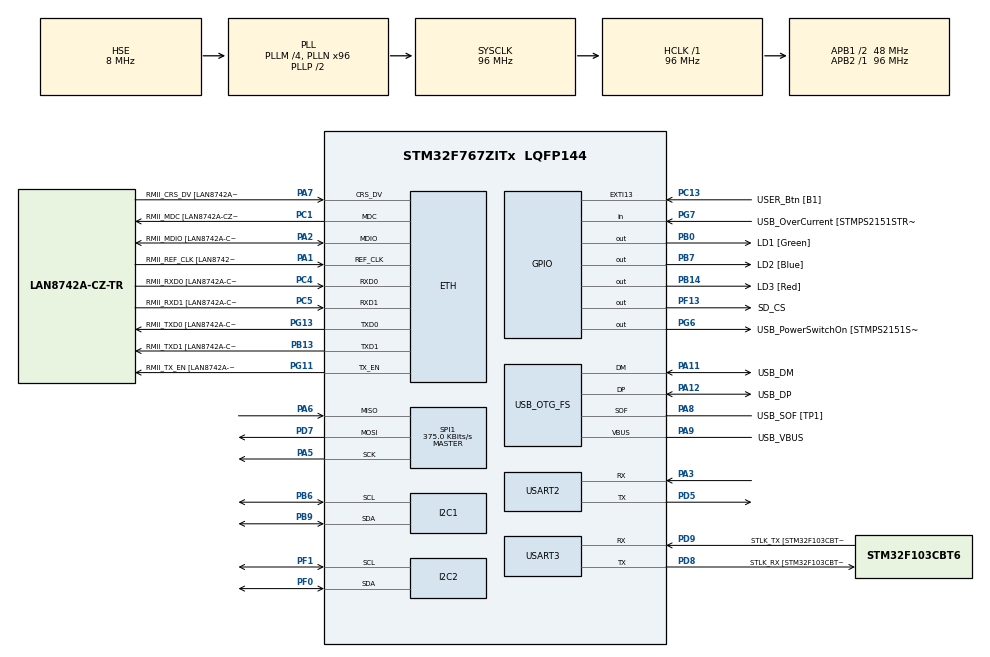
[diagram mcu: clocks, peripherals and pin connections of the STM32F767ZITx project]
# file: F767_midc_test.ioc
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CORTEX_M7.default_mode_Activation=1
ETH.MediaInterface=HAL_ETH_RMII_MODE
ETH.PHY_Name=LAN8742A_PHY_ADDRESS
ETH.PHY_Value=0
ETH.PhyAddress=0
I2C1.Timing=0x20303E5D
I2C2.Timing=0x20303E5D
Mcu.Family=STM32F7
Mcu.Name=STM32F767ZITx
Mcu.Package=LQFP144
NVIC.PriorityGroup=NVIC_PRIORITYGROUP_4
PA1.GPIO_Label=RMII_REF_CLK [LAN8742A-CZ-TR_REFCLK0]
PA1.Mode=RMII
PA1.Signal=ETH_REF_CLK
PA10.GPIO_Label=USB_ID
PA10.Signal=USB_OTG_FS_ID
PA11.GPIO_Label=USB_DM
PA11.Mode=Device_Only
PA11.Signal=USB_OTG_FS_DM
PA12.GPIO_Label=USB_DP
PA12.Mode=Device_Only
PA12.Signal=USB_OTG_FS_DP
PA13.GPIO_Label=TMS
PA13.Mode=Serial_Wire
PA13.Signal=SYS_JTMS-SWDIO
PA14.GPIO_Label=TCK
PA14.Mode=Serial_Wire
PA14.Signal=SYS_JTCK-SWCLK
PA2.GPIO_Label=RMII_MDIO [LAN8742A-CZ-TR_MDIO]
PA2.Mode=RMII
PA2.Signal=ETH_MDIO
PA3.Mode=Asynchronous
PA3.Signal=USART2_RX
PA5.Mode=Full_Duplex_Master
PA5.Signal=SPI1_SCK
PA6.Mode=Full_Duplex_Master
PA6.Signal=SPI1_MISO
PA7.GPIO_Label=RMII_CRS_DV [LAN8742A-CZ-TR_CRS_DV]
PA7.Mode=RMII
PA7.Signal=ETH_CRS_DV
PA8.GPIO_Label=USB_SOF [TP1]
PA8.Mode=Activate_SOF_FS
PA8.Signal=USB_OTG_FS_SOF
PA9.GPIO_Label=USB_VBUS
PA9.Mode=Activate_VBUS
PA9.Signal=USB_OTG_FS_VBUS
PB0.GPIO_Label=LD1 [Green]
PB0.Signal=GPIO_Output
PB13.GPIO_Label=RMII_TXD1 [LAN8742A-CZ-TR_TXD1]
PB13.Mode=RMII
PB13.Signal=ETH_TXD1
PB14.GPIO_Label=LD3 [Red]
PB14.Signal=GPIO_Output
PB3.GPIO_Label=SWO
PB3.Signal=SYS_JTDO-SWO
PB6.Mode=I2C
PB6.Signal=I2C1_SCL
PB7.GPIO_Label=LD2 [Blue]
PB7.Signal=GPIO_Output
PB9.Mode=I2C
PB9.Signal=I2C1_SDA
PC1.GPIO_Label=RMII_MDC [LAN8742A-CZ-TR_MDC]
PC1.Mode=RMII
PC1.Signal=ETH_MDC
PC13.GPIO_Label=USER_Btn [B1]
PC13.Signal=GPXTI13
PC14/OSC32_IN.Mode=LSE-External-Oscillator
PC14/OSC32_IN.Signal=RCC_OSC32_IN
PC15/OSC32_OUT.Mode=LSE-External-Oscillator
PC15/OSC32_OUT.Signal=RCC_OSC32_OUT
PC4.GPIO_Label=RMII_RXD0 [LAN8742A-CZ-TR_RXD0]
PC4.Mode=RMII
PC4.Signal=ETH_RXD0
PC5.GPIO_Label=RMII_RXD1 [LAN8742A-CZ-TR_RXD1]
PC5.Mode=RMII
PC5.Signal=ETH_RXD1
PD5.Mode=Asynchronous
PD5.Signal=USART2_TX
PD7.Mode=Full_Duplex_Master
PD7.Signal=SPI1_MOSI
PD8.GPIO_Label=STLK_RX [STM32F103CBT6_PA3]
PD8.Mode=Asynchronous
PD8.Signal=USART3_TX
PD9.GPIO_Label=STLK_TX [STM32F103CBT6_PA2]
PD9.Mode=Asynchronous
PD9.Signal=USART3_RX
PF0.Mode=I2C
PF0.Signal=I2C2_SDA
PF1.Mode=I2C
PF1.Signal=I2C2_SCL
PF13.GPIO_Label=SD_CS
PF13.Signal=GPIO_Output
PG11.GPIO_Label=RMII_TX_EN [LAN8742A-CZ-TR_TXEN]
PG11.Mode=RMII
PG11.Signal=ETH_TX_EN
PG13.GPIO_Label=RMII_TXD0 [LAN8742A-CZ-TR_TXD0]
PG13.Mode=RMII
PG13.Signal=ETH_TXD0
PG6.GPIO_Label=USB_PowerSwitchOn [STMPS2151STR_EN]
PG6.Signal=GPIO_Output
PG7.GPIO_Label=USB_OverCurrent [STMPS2151STR_FAULT]
PG7.Signal=GPIO_Input
PH0/OSC_IN.GPIO_Label=MCO [STM32F103CBT6_PA8]
PH0/OSC_IN.Mode=HSE-External-Clock-Source
PH0/OSC_IN.Signal=RCC_OSC_IN
PH1/OSC_OUT.Mode=HSE-External-Clock-Source
PH1/OSC_OUT.Signal=RCC_OSC_OUT
ProjectManager.HeapSize=0x200
ProjectManager.StackSize=0x400
ProjectManager.TargetToolchain=STM32CubeIDE
RCC.48MHZClocksFreq_Value=24000000
RCC.AHBFreq_Value=96000000
RCC.APB1CLKDivider=RCC_HCLK_DIV2
RCC.APB1Freq_Value=48000000
RCC.APB1TimFreq_Value=96000000
RCC.APB2Freq_Value=96000000
RCC.APB2TimFreq_Value=96000000
RCC.CortexFreq_Value=96000000
RCC.HCLKFreq_Value=96000000
RCC.HSE_VALUE=8000000
RCC.HSI_VALUE=16000000
RCC.PLLM=4
RCC.PLLMUL=RCC_PLL_MUL9
RCC.PLLN=96
RCC.PLLQ=4
RCC.PRESCALERUSB=RCC_USBCLKSOURCE_PLL_DIV1_5
RCC.SYSCLKFreq_VALUE=96000000
RCC.SYSCLKSource=RCC_SYSCLKSOURCE_PLLCLK
RCC.SYSCLKSourceVirtual=RCC_SYSCLKSOURCE_PLLCLK
RCC.USBFreq_Value=48000000
RCC.VCOOutputFreq_Value=192000000
SPI1.BaudRatePrescaler=SPI_BAUDRATEPRESCALER_256
SPI1.CalculateBaudRate=375.0 KBits/s
SPI1.DataSize=SPI_DATASIZE_8BIT
SPI1.Direction=SPI_DIRECTION_2LINES
SPI1.Mode=SPI_MODE_MASTER
SPI1.VirtualType=VM_MASTER
USART2.VirtualMode-Asynchronous=VM_ASYNC
USART3.VirtualMode-Asynchronous=VM_ASYNC
USB_OTG_FS.VirtualMode=Device_Only
VP_FATFS_VS_Generic.Mode=User_defined
board=NUCLEO-F767ZI

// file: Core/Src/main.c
/* USER CODE BEGIN Header */
/* F7676_midc_test */
/**
  ******************************************************************************
  * @file           : main.c
  * @brief          : Main program body
  ******************************************************************************
  * @attention
  *
  * Copyright (c) 2026 STMicroelectronics.
  * All rights reserved.
  *
  * This software is licensed under terms that can be found in the LICENSE file
  * in the root directory of this software component.
  * If no LICENSE file comes with this software, it is provided AS-IS.
  *
  ******************************************************************************
  */
/* USER CODE END Header */
#include "main.h"
#include "string.h"
#include "fatfs.h"

/* USER CODE BEGIN Includes */
#include <stdio.h>
#include <string.h>
#include <stdint.h>
#include <stdlib.h>
#include "fatfs.h"
/* USER CODE END Includes */

#if defined ( __ICCARM__ ) /*!< IAR Compiler */
#pragma location=0x2007c000
ETH_DMADescTypeDef  DMARxDscrTab[ETH_RX_DESC_CNT]; /* Ethernet Rx DMA Descriptors */
#pragma location=0x2007c0a0
ETH_DMADescTypeDef  DMATxDscrTab[ETH_TX_DESC_CNT]; /* Ethernet Tx DMA Descriptors */

#elif defined ( __CC_ARM )  /* MDK ARM Compiler */

__attribute__((at(0x2007c000))) ETH_DMADescTypeDef  DMARxDscrTab[ETH_RX_DESC_CNT]; /* Ethernet Rx DMA Descriptors */
__attribute__((at(0x2007c0a0))) ETH_DMADescTypeDef  DMATxDscrTab[ETH_TX_DESC_CNT]; /* Ethernet Tx DMA Descriptors */

#elif defined ( __GNUC__ ) /* GNU Compiler */

ETH_DMADescTypeDef DMARxDscrTab[ETH_RX_DESC_CNT] __attribute__((section(".RxDecripSection"))); /* Ethernet Rx DMA Descriptors */
ETH_DMADescTypeDef DMATxDscrTab[ETH_TX_DESC_CNT] __attribute__((section(".TxDecripSection")));   /* Ethernet Tx DMA Descriptors */
#endif

ETH_TxPacketConfig TxConfig;

ETH_HandleTypeDef heth;

I2C_HandleTypeDef hi2c1;
I2C_HandleTypeDef hi2c2;

SPI_HandleTypeDef hspi1;

UART_HandleTypeDef huart2;
UART_HandleTypeDef huart3;

PCD_HandleTypeDef hpcd_USB_OTG_FS;

/* USER CODE BEGIN PV */
#define RAW_INTERVAL_SEC      600   // 10 minutes
#define AVG_INTERVAL_SEC      3600  // 1 hour

#define DS3231_ADDR           (0x68 << 1)

#define MPU6050_ADDR          (0x68 << 1)
#define MPU6050_PWR_MGMT_1    0x6B
#define MPU6050_ACCEL_XOUT_H  0x3B

#define SBE_RX_BUFFER_SIZE    256

typedef struct
{
  uint8_t sec;
  uint8_t min;
  uint8_t hour;
  uint8_t day;
  uint8_t date;   // which day in a week
  uint8_t month;
  uint8_t year;
} DS3231_Time_t;

typedef struct
{
  float ax_g;
  float ay_g;
  float az_g;

  float gx_dps;
  float gy_dps;
  float gz_dps;

  float temp_c;
} MPU6050_Data_t;

typedef struct
{
  float ax;
  float ay;
  float az;

  float gx;
  float gy;
  float gz;

  float temp_bmp;
  float temp_sbe;
  float pressure_sbe;
} SensorData_t;

typedef struct
{
  uint32_t count;

  double ax_sum;
  double ay_sum;
  double az_sum;

  double gx_sum;
  double gy_sum;
  double gz_sum;

  double temp_bmp_sum;
  double temp_sbe_sum;
  double pressure_sbe_sum;
} AvgBuffer_t;

FATFS fs;
FIL file;
FRESULT fres;

DS3231_Time_t rtc_time;
MPU6050_Data_t mpu;
SensorData_t sensor_data;
AvgBuffer_t avg_buf;

uint32_t last_raw_sec = 0;
uint32_t last_avg_sec = 0;

uint32_t raw_index = 0;
uint32_t avg_index = 0;

char uart_msg[512];
char raw_line[256];
char avg_line[256];
char sbe_raw[SBE_RX_BUFFER_SIZE];
/* USER CODE END PV */

void SystemClock_Config(void);
static void MPU_Config(void);
static void MX_GPIO_Init(void);
static void MX_ETH_Init(void);
static void MX_I2C1_Init(void);
static void MX_I2C2_Init(void);
static void MX_SPI1_Init(void);
static void MX_USART2_UART_Init(void);
static void MX_USART3_UART_Init(void);
static void MX_USB_OTG_FS_PCD_Init(void);
/* USER CODE BEGIN PFP */
void UART3_Print(const char *msg);

uint8_t BCD_To_Dec(uint8_t bcd);
HAL_StatusTypeDef DS3231_ReadTime(DS3231_Time_t *time);
uint32_t DS3231_ToSecond(DS3231_Time_t *t);

HAL_StatusTypeDef MPU6050_Init(void);
HAL_StatusTypeDef MPU6050_Read(MPU6050_Data_t *data);

void SBE39_WakeUP(void);
HAL_StatusTypeDef SBE39_SendCommand(const char *cmd , char *buffer , uint16_t buffer_size , uint32_t timeout_ms);
uint8_t SBE39_ParseTS(char *raw , float *temp , float *pressure);

HAL_StatusTypeDef Read_All_Sensors(SensorData_t *d);

void Avg_Reset(void);
void Avg_AddSample(SensorData_t *d);

void SD_AppendLine_WithHeader(const char *filename , const char *header , const char *line);
void SD_WriteRaw(SensorData_t *d, DS3231_Time_t *t);
void SD_WriteAvg_And_SendUART(DS3231_Time_t *t);
/* USER CODE END PFP */

int main(void)
{

  /* MPU Configuration--------------------------------------------------------*/
  MPU_Config();

  /* MCU Configuration--------------------------------------------------------*/

  /* Reset of all peripherals, Initializes the Flash interface and the Systick. */
  HAL_Init();

  /* Configure the system clock */
  SystemClock_Config();

  /* Initialize all configured peripherals */
  MX_GPIO_Init();
  MX_ETH_Init();
  MX_I2C1_Init();
  MX_I2C2_Init();
  MX_SPI1_Init();
  MX_USART2_UART_Init();
  MX_USART3_UART_Init();
  MX_USB_OTG_FS_PCD_Init();
  MX_FATFS_Init();
  /* USER CODE BEGIN 2 */
  UART3_Print("System start\r\n");

  if (MPU6050_Init() == HAL_OK)
  {
    UART3_Print("MPU6050 init OK\r\n");
  } // end if mpu init ok
  else
  {
    UART3_Print("MPU6050 init ERROR\r\n");
  } // end else

  if (DS3231_ReadTime(&rtc_time) == HAL_OK)
  {
    uint32_t now_sec = DS3231_ToSecond(&rtc_time);

    last_raw_sec = now_sec - (now_sec % RAW_INTERVAL_SEC);    // Align raw logging to the nearest previous sampling boundary
    last_avg_sec = now_sec - (now_sec % AVG_INTERVAL_SEC);    // Align avgerging to the nearest averaging boundary

    UART3_Print("DS3231 init OK\r\n");
  } // end if DS3231 readtime ok
  else
  {
    UART3_Print("DS3231 init ERROR\r\n");
  } // end else

  Avg_Reset();
  /* USER CODE END 2 */

  /* Infinite loop */
  /* USER CODE BEGIN WHILE */
  while (1)
  {
    if (DS3231_ReadTime(&rtc_time) == HAL_OK)
    {
      uint32_t now_sec = DS3231_ToSecond(&rtc_time);

      if (now_sec - last_raw_sec >= RAW_INTERVAL_SEC)
      {
        last_raw_sec += RAW_INTERVAL_SEC;

        if (Read_All_Sensors(&sensor_data) == HAL_OK)
        {
          SD_WriteRaw(&sensor_data , &rtc_time);
          Avg_AddSample(&sensor_data);

          UART3_Print("RAW WRITE OK\r\n");
        } // end if read all sensor ok
        else
        {
          UART3_Print("SENSOR READ ERROR\r\n");
        } // end else
      } // end if reach raw interval sec

      if (now_sec - last_avg_sec >= AVG_INTERVAL_SEC)
      {
        last_avg_sec += AVG_INTERVAL_SEC;

        SD_WriteAvg_And_SendUART(&rtc_time);
        Avg_Reset();
      } // end if reach abg interval sec
    } // end DS3231_ReadTime ok

    HAL_Delay(100);
    /* USER CODE END WHILE */

  }
}

void SystemClock_Config(void)
{
  RCC_OscInitTypeDef RCC_OscInitStruct = {0};
  RCC_ClkInitTypeDef RCC_ClkInitStruct = {0};

  /** Configure LSE Drive Capability
  */
  HAL_PWR_EnableBkUpAccess();

  /** Configure the main internal regulator output voltage
  */
  __HAL_RCC_PWR_CLK_ENABLE();
  __HAL_PWR_VOLTAGESCALING_CONFIG(PWR_REGULATOR_VOLTAGE_SCALE3);

  /** Initializes the RCC Oscillators according to the specified parameters
  * in the RCC_OscInitTypeDef structure.
  */
  RCC_OscInitStruct.OscillatorType = RCC_OSCILLATORTYPE_HSE;
  RCC_OscInitStruct.HSEState = RCC_HSE_BYPASS;
  RCC_OscInitStruct.PLL.PLLState = RCC_PLL_ON;
  RCC_OscInitStruct.PLL.PLLSource = RCC_PLLSOURCE_HSE;
  RCC_OscInitStruct.PLL.PLLM = 4;
  RCC_OscInitStruct.PLL.PLLN = 96;
  RCC_OscInitStruct.PLL.PLLP = RCC_PLLP_DIV2;
  RCC_OscInitStruct.PLL.PLLQ = 4;
  RCC_OscInitStruct.PLL.PLLR = 2;
  if (HAL_RCC_OscConfig(&RCC_OscInitStruct) != HAL_OK)
  {
    Error_Handler();
  }

  /** Activate the Over-Drive mode
  */
  if (HAL_PWREx_EnableOverDrive() != HAL_OK)
  {
    Error_Handler();
  }

  /** Initializes the CPU, AHB and APB buses clocks
  */
  RCC_ClkInitStruct.ClockType = RCC_CLOCKTYPE_HCLK|RCC_CLOCKTYPE_SYSCLK
                              |RCC_CLOCKTYPE_PCLK1|RCC_CLOCKTYPE_PCLK2;
  RCC_ClkInitStruct.SYSCLKSource = RCC_SYSCLKSOURCE_PLLCLK;
  RCC_ClkInitStruct.AHBCLKDivider = RCC_SYSCLK_DIV1;
  RCC_ClkInitStruct.APB1CLKDivider = RCC_HCLK_DIV2;
  RCC_ClkInitStruct.APB2CLKDivider = RCC_HCLK_DIV1;

  if (HAL_RCC_ClockConfig(&RCC_ClkInitStruct, FLASH_LATENCY_3) != HAL_OK)
  {
    Error_Handler();
  }
}

static void MX_ETH_Init(void)
{

   static uint8_t MACAddr[6];

  heth.Instance = ETH;
  MACAddr[0] = 0x00;
  MACAddr[1] = 0x80;
  MACAddr[2] = 0xE1;
  MACAddr[3] = 0x00;
  MACAddr[4] = 0x00;
  MACAddr[5] = 0x00;
  heth.Init.MACAddr = &MACAddr[0];
  heth.Init.MediaInterface = HAL_ETH_RMII_MODE;
  heth.Init.TxDesc = DMATxDscrTab;
  heth.Init.RxDesc = DMARxDscrTab;
  heth.Init.RxBuffLen = 1524;

  if (HAL_ETH_Init(&heth) != HAL_OK)
  {
    Error_Handler();
  }

  memset(&TxConfig, 0 , sizeof(ETH_TxPacketConfig));
  TxConfig.Attributes = ETH_TX_PACKETS_FEATURES_CSUM | ETH_TX_PACKETS_FEATURES_CRCPAD;
  TxConfig.ChecksumCtrl = ETH_CHECKSUM_IPHDR_PAYLOAD_INSERT_PHDR_CALC;
  TxConfig.CRCPadCtrl = ETH_CRC_PAD_INSERT;

}

static void MX_I2C1_Init(void)
{

  hi2c1.Instance = I2C1;
  hi2c1.Init.Timing = 0x20303E5D;
  hi2c1.Init.OwnAddress1 = 0;
  hi2c1.Init.AddressingMode = I2C_ADDRESSINGMODE_7BIT;
  hi2c1.Init.DualAddressMode = I2C_DUALADDRESS_DISABLE;
  hi2c1.Init.OwnAddress2 = 0;
  hi2c1.Init.OwnAddress2Masks = I2C_OA2_NOMASK;
  hi2c1.Init.GeneralCallMode = I2C_GENERALCALL_DISABLE;
  hi2c1.Init.NoStretchMode = I2C_NOSTRETCH_DISABLE;
  if (HAL_I2C_Init(&hi2c1) != HAL_OK)
  {
    Error_Handler();
  }

  /** Configure Analogue filter
  */
  if (HAL_I2CEx_ConfigAnalogFilter(&hi2c1, I2C_ANALOGFILTER_ENABLE) != HAL_OK)
  {
    Error_Handler();
  }

  /** Configure Digital filter
  */
  if (HAL_I2CEx_ConfigDigitalFilter(&hi2c1, 0) != HAL_OK)
  {
    Error_Handler();
  }

}

static void MX_I2C2_Init(void)
{

  hi2c2.Instance = I2C2;
  hi2c2.Init.Timing = 0x20303E5D;
  hi2c2.Init.OwnAddress1 = 0;
  hi2c2.Init.AddressingMode = I2C_ADDRESSINGMODE_7BIT;
  hi2c2.Init.DualAddressMode = I2C_DUALADDRESS_DISABLE;
  hi2c2.Init.OwnAddress2 = 0;
  hi2c2.Init.OwnAddress2Masks = I2C_OA2_NOMASK;
  hi2c2.Init.GeneralCallMode = I2C_GENERALCALL_DISABLE;
  hi2c2.Init.NoStretchMode = I2C_NOSTRETCH_DISABLE;
  if (HAL_I2C_Init(&hi2c2) != HAL_OK)
  {
    Error_Handler();
  }

  /** Configure Analogue filter
  */
  if (HAL_I2CEx_ConfigAnalogFilter(&hi2c2, I2C_ANALOGFILTER_ENABLE) != HAL_OK)
  {
    Error_Handler();
  }

  /** Configure Digital filter
  */
  if (HAL_I2CEx_ConfigDigitalFilter(&hi2c2, 0) != HAL_OK)
  {
    Error_Handler();
  }

}

static void MX_SPI1_Init(void)
{

  /* SPI1 parameter configuration*/
  hspi1.Instance = SPI1;
  hspi1.Init.Mode = SPI_MODE_MASTER;
  hspi1.Init.Direction = SPI_DIRECTION_2LINES;
  hspi1.Init.DataSize = SPI_DATASIZE_8BIT;
  hspi1.Init.CLKPolarity = SPI_POLARITY_LOW;
  hspi1.Init.CLKPhase = SPI_PHASE_1EDGE;
  hspi1.Init.NSS = SPI_NSS_SOFT;
  hspi1.Init.BaudRatePrescaler = SPI_BAUDRATEPRESCALER_256;
  hspi1.Init.FirstBit = SPI_FIRSTBIT_MSB;
  hspi1.Init.TIMode = SPI_TIMODE_DISABLE;
  hspi1.Init.CRCCalculation = SPI_CRCCALCULATION_DISABLE;
  hspi1.Init.CRCPolynomial = 7;
  hspi1.Init.CRCLength = SPI_CRC_LENGTH_DATASIZE;
  hspi1.Init.NSSPMode = SPI_NSS_PULSE_ENABLE;
  if (HAL_SPI_Init(&hspi1) != HAL_OK)
  {
    Error_Handler();
  }

}

static void MX_USART2_UART_Init(void)
{

  huart2.Instance = USART2;
  huart2.Init.BaudRate = 9600;
  huart2.Init.WordLength = UART_WORDLENGTH_8B;
  huart2.Init.StopBits = UART_STOPBITS_1;
  huart2.Init.Parity = UART_PARITY_NONE;
  huart2.Init.Mode = UART_MODE_TX_RX;
  huart2.Init.HwFlowCtl = UART_HWCONTROL_NONE;
  huart2.Init.OverSampling = UART_OVERSAMPLING_16;
  huart2.Init.OneBitSampling = UART_ONE_BIT_SAMPLE_DISABLE;
  huart2.AdvancedInit.AdvFeatureInit = UART_ADVFEATURE_NO_INIT;
  if (HAL_UART_Init(&huart2) != HAL_OK)
  {
    Error_Handler();
  }

}

static void MX_USART3_UART_Init(void)
{

  huart3.Instance = USART3;
  huart3.Init.BaudRate = 115200;
  huart3.Init.WordLength = UART_WORDLENGTH_8B;
  huart3.Init.StopBits = UART_STOPBITS_1;
  huart3.Init.Parity = UART_PARITY_NONE;
  huart3.Init.Mode = UART_MODE_TX_RX;
  huart3.Init.HwFlowCtl = UART_HWCONTROL_NONE;
  huart3.Init.OverSampling = UART_OVERSAMPLING_16;
  huart3.Init.OneBitSampling = UART_ONE_BIT_SAMPLE_DISABLE;
  huart3.AdvancedInit.AdvFeatureInit = UART_ADVFEATURE_NO_INIT;
  if (HAL_UART_Init(&huart3) != HAL_OK)
  {
    Error_Handler();
  }

}

static void MX_USB_OTG_FS_PCD_Init(void)
{

  hpcd_USB_OTG_FS.Instance = USB_OTG_FS;
  hpcd_USB_OTG_FS.Init.dev_endpoints = 6;
  hpcd_USB_OTG_FS.Init.speed = PCD_SPEED_FULL;
  hpcd_USB_OTG_FS.Init.dma_enable = DISABLE;
  hpcd_USB_OTG_FS.Init.phy_itface = PCD_PHY_EMBEDDED;
  hpcd_USB_OTG_FS.Init.Sof_enable = ENABLE;
  hpcd_USB_OTG_FS.Init.low_power_enable = DISABLE;
  hpcd_USB_OTG_FS.Init.lpm_enable = DISABLE;
  hpcd_USB_OTG_FS.Init.vbus_sensing_enable = ENABLE;
  hpcd_USB_OTG_FS.Init.use_dedicated_ep1 = DISABLE;
  if (HAL_PCD_Init(&hpcd_USB_OTG_FS) != HAL_OK)
  {
    Error_Handler();
  }

}

static void MX_GPIO_Init(void)
{
  GPIO_InitTypeDef GPIO_InitStruct = {0};

  /* GPIO Ports Clock Enable */
  __HAL_RCC_GPIOC_CLK_ENABLE();
  __HAL_RCC_GPIOF_CLK_ENABLE();
  __HAL_RCC_GPIOH_CLK_ENABLE();
  __HAL_RCC_GPIOA_CLK_ENABLE();
  __HAL_RCC_GPIOB_CLK_ENABLE();
  __HAL_RCC_GPIOD_CLK_ENABLE();
  __HAL_RCC_GPIOG_CLK_ENABLE();

  /*Configure GPIO pin Output Level */
  HAL_GPIO_WritePin(GPIOB, LD1_Pin|LD3_Pin|LD2_Pin, GPIO_PIN_RESET);

  /*Configure GPIO pin Output Level */
  HAL_GPIO_WritePin(SD_CS_GPIO_Port, SD_CS_Pin, GPIO_PIN_RESET);

  /*Configure GPIO pin Output Level */
  HAL_GPIO_WritePin(USB_PowerSwitchOn_GPIO_Port, USB_PowerSwitchOn_Pin, GPIO_PIN_RESET);

  /*Configure GPIO pin : USER_Btn_Pin */
  GPIO_InitStruct.Pin = USER_Btn_Pin;
  GPIO_InitStruct.Mode = GPIO_MODE_IT_RISING;
  GPIO_InitStruct.Pull = GPIO_NOPULL;
  HAL_GPIO_Init(USER_Btn_GPIO_Port, &GPIO_InitStruct);

  /*Configure GPIO pins : LD1_Pin LD3_Pin LD2_Pin */
  GPIO_InitStruct.Pin = LD1_Pin|LD3_Pin|LD2_Pin;
  GPIO_InitStruct.Mode = GPIO_MODE_OUTPUT_PP;
  GPIO_InitStruct.Pull = GPIO_NOPULL;
  GPIO_InitStruct.Speed = GPIO_SPEED_FREQ_LOW;
  HAL_GPIO_Init(GPIOB, &GPIO_InitStruct);

  /*Configure GPIO pin : SD_CS_Pin */
  GPIO_InitStruct.Pin = SD_CS_Pin;
  GPIO_InitStruct.Mode = GPIO_MODE_OUTPUT_PP;
  GPIO_InitStruct.Pull = GPIO_NOPULL;
  GPIO_InitStruct.Speed = GPIO_SPEED_FREQ_LOW;
  HAL_GPIO_Init(SD_CS_GPIO_Port, &GPIO_InitStruct);

  /*Configure GPIO pin : USB_PowerSwitchOn_Pin */
  GPIO_InitStruct.Pin = USB_PowerSwitchOn_Pin;
  GPIO_InitStruct.Mode = GPIO_MODE_OUTPUT_PP;
  GPIO_InitStruct.Pull = GPIO_NOPULL;
  GPIO_InitStruct.Speed = GPIO_SPEED_FREQ_LOW;
  HAL_GPIO_Init(USB_PowerSwitchOn_GPIO_Port, &GPIO_InitStruct);

  /*Configure GPIO pin : USB_OverCurrent_Pin */
  GPIO_InitStruct.Pin = USB_OverCurrent_Pin;
  GPIO_InitStruct.Mode = GPIO_MODE_INPUT;
  GPIO_InitStruct.Pull = GPIO_NOPULL;
  HAL_GPIO_Init(USB_OverCurrent_GPIO_Port, &GPIO_InitStruct);

}

/* USER CODE BEGIN 4 */
void UART3_Print(const char *msg)
{
  HAL_UART_Transmit(&huart3 , (uint8_t *)msg , strlen(msg) , 100);
} // end function UART3_Print

uint8_t BCD_To_Dec(uint8_t bcd)
{
  return ((bcd >> 4) * 10) + (bcd & 0x0F);
} // end function BCD_To_Dec

HAL_StatusTypeDef DS3231_ReadTime(DS3231_Time_t *time)
{
  uint8_t raw[7];

  if (HAL_I2C_Mem_Read(&hi2c2 , DS3231_ADDR , 0x00 , I2C_MEMADD_SIZE_8BIT , raw , 7 , 100) != HAL_OK)
  {
    return HAL_ERROR;
  } // end if hal_I2C_Mem_Read not ok

  time->sec     = BCD_To_Dec(raw[0] & 0x7F);
  time->min     = BCD_To_Dec(raw[1] & 0x7F);
  time->hour    = BCD_To_Dec(raw[2] & 0x3F);
  time->day     = BCD_To_Dec(raw[3] & 0x07);
  time->date    = BCD_To_Dec(raw[4] & 0x3F);
  time->month   = BCD_To_Dec(raw[5] & 0x1F);
  time->year    = BCD_To_Dec(raw[6]);

  return HAL_OK;
} // end function DS3231_ReadTime

uint32_t DS3231_ToSecond(DS3231_Time_t *t)
{
  return (uint32_t)t->hour * 3600UL + (uint32_t)t->min * 60UL + (uint32_t)t->sec;
} // end function DS3231_ToSecond

HAL_StatusTypeDef MPU6050_Init(void)
{
  uint8_t data = 0x00;

  if (HAL_I2C_Mem_Write(&hi2c1 , MPU6050_ADDR , MPU6050_PWR_MGMT_1 , 1 , &data , 1 , 100) != HAL_OK)
  {
    return HAL_ERROR;
  } // end if HAL_I2C_Mem_Write not ok

  HAL_Delay(100);

  return HAL_OK;
} // end function MPU6050_Init

HAL_StatusTypeDef MPU6050_Read(MPU6050_Data_t *data)
{
  uint8_t raw[14];

  if (HAL_I2C_Mem_Read(&hi2c1 , MPU6050_ADDR , MPU6050_ACCEL_XOUT_H , 1 , raw , 14 , 100) != HAL_OK)
  {
    return HAL_ERROR;
  } // end if HAL_I2CMem_Read not ok

  int16_t ax_raw = (int16_t)(raw[0] << 8 | raw[1]);
  int16_t ay_raw = (int16_t)(raw[2] << 8 | raw[3]);
  int16_t az_raw = (int16_t)(raw[4] << 8 | raw[5]);

  int16_t temp_raw = (int16_t)(raw[6] << 8 | raw[7]);

  int16_t gx_raw = (int16_t)(raw[8] << 8 | raw[9]);
  int16_t gy_raw = (int16_t)(raw[10] << 8 | raw[11]);
  int16_t gz_raw = (int16_t)(raw[12] << 8 | raw[13]);

  data->ax_g = ax_raw / 16384.0f;
  data->ay_g = ay_raw / 16384.0f;
  data->az_g = az_raw / 16384.0f;

  data->gx_dps = gx_raw / 131.0f;
  data->gy_dps = gy_raw / 131.0f;
  data->gz_dps = gz_raw / 131.0f;

  data->temp_c = (temp_raw / 340.0f) + 36.53f;

  return HAL_OK;
} // end function MPU6050_Read

void SBE39_WakeUP(void)
{
  char wake[] = "\r";

  HAL_UART_Transmit(&huart2 , (uint8_t *)wake , strlen(wake) , 100);
  HAL_Delay(4000);
} // end function SBE30_WakeUp

HAL_StatusTypeDef SBE39_SendCommand(const char *cmd , char *buffer , uint16_t buffer_size , uint32_t timeout_ms)
{
  uint8_t ch;
  uint16_t idx = 0;
  uint32_t start_time;

  memset(buffer , 0 , buffer_size);

  SBE39_WakeUP();

  HAL_UART_Transmit(&huart2 , (uint8_t *)cmd , strlen(cmd) , 100);

  start_time = HAL_GetTick();

  while ((HAL_GetTick() - start_time < timeout_ms))
  {
    if (HAL_UART_Receive(&huart2 , &ch , 1 , 20) == HAL_OK)
    {
      if (idx < buffer_size - 1)
      {
        buffer[idx++] = ch;
      } // end if idx smaller than buffer_size
      start_time = HAL_GetTick();
    } // end if HAL_UART_Receive ok
  } // end while

  buffer[idx] = '\0';

  if (idx > 0)
  {
    return HAL_OK;
  } // end if idx > 0

  strcpy(buffer , "NO_DATA");
  return HAL_TIMEOUT;
} // end function SBE39_SendCommand

uint8_t SBE39_ParseTS(char *raw, float *temp, float *pressure)
{
  char *p = raw;
  char *endptr;

  // Find first numeric character
  while (*p)
  {
    if ((*p >= '0' && *p <= '9') ||
        (*p == '-') ||
        (*p == '+'))
    {
        break;
    }

    p++;
  }

  if (*p == '\0')
  {
      return 0;
  }

  // Parse temperature
  *temp = strtof(p, &endptr);

  if (p == endptr)
  {
      return 0;
  }

  p = endptr;

  // Find next numeric character
  while (*p)
  {
      if ((*p >= '0' && *p <= '9') ||
          (*p == '-') ||
          (*p == '+'))
      {
          break;
      }

      p++;
  }

  if (*p == '\0')
  {
      return 0;
  }

  // Parse pressure
  *pressure = strtof(p, &endptr);

  if (p == endptr)
  {
      return 0;
  }

  return 1;
} // end function SBE39_ParseTS

HAL_StatusTypeDef Read_All_Sensors(SensorData_t *d)
{
  if (MPU6050_Read(&mpu) != HAL_OK)
  {
    return HAL_ERROR;
  } // end if MPU6050_Read not OK

  d->ax = mpu.ax_g;
  d->ay = mpu.ay_g;
  d->az = mpu.az_g;
  d->gx = mpu.gx_dps;
  d->gy = mpu.gy_dps;
  d->gz = mpu.gz_dps;
  d->temp_bmp = mpu.temp_c;

  if (SBE39_SendCommand("TS\r" , sbe_raw , sizeof(sbe_raw) , 5000) == HAL_OK)
  {
    snprintf(uart_msg , sizeof(uart_msg) , "SBE RAW: [%s]\r\n" , sbe_raw);
    UART3_Print(uart_msg);

    if (!SBE39_ParseTS(sbe_raw , &d->temp_sbe , &d->pressure_sbe))
    {
      UART3_Print("SBE PARSE ERROR\r\n");

      snprintf(uart_msg , sizeof(uart_msg) , "PARSE TEST sscanf=%d\r\n", sscanf(sbe_raw, "%f,%f", &sensor_data.temp_sbe, &sensor_data.pressure_sbe));

      UART3_Print(uart_msg);
      d->temp_sbe = -999.0f;
      d->pressure_sbe = -999.0f;
    } // end if not SBE39_ParseTS
    else
    {
      snprintf(uart_msg , sizeof(uart_msg) , "SBE PARSE OK: temp=%.4f, pressure=%.4f\r\n",  d->temp_sbe , d->pressure_sbe);
      UART3_Print(uart_msg);
    } // end else
  } // end if SBE39_SendCommand is OK
  else
  {
    d->temp_sbe = -999.0f;
    d->pressure_sbe = -999.0f;
  } // end else

  return HAL_OK;
} // end function Read_All_Sensors

void Avg_Reset(void)
{
  memset(&avg_buf , 0 , sizeof(avg_buf));
} // end function Avg_Reset

void Avg_AddSample(SensorData_t *d)
{
  avg_buf.count++;
  avg_buf.ax_sum += d->ax;
  avg_buf.ay_sum += d->ay;
  avg_buf.az_sum += d->az;

  avg_buf.gx_sum += d->gx;
  avg_buf.gy_sum += d->gy;
  avg_buf.gz_sum += d->gz;

  avg_buf.temp_bmp_sum += d->temp_bmp;
  avg_buf.temp_sbe_sum += d->temp_sbe;
  avg_buf.pressure_sbe_sum += d->pressure_sbe;
} // end function Avg_AddSample

void SD_AppendLine_WithHeader(const char *filename , const char *header , const char *line)
{
  UINT bw;
  FILINFO fno;
  uint8_t need_header = 0;

  fres = f_mount(&fs , "" , 1);

  if (fres != FR_OK)
  {
    snprintf(uart_msg , sizeof(uart_msg) , "SD mount ERROR: %d\r\n" , fres);
    UART3_Print(uart_msg);
    return;
  } // end if fres not ok

  fres = f_stat(filename , &fno);

  if (fres == FR_NO_FILE)
  {
    need_header = 1;
  } // end if fres no file
  else if (fres == FR_OK && fno.fsize == 0)
  {
    need_header = 1;
  } // end else if

  fres = f_open(&file , filename , FA_OPEN_ALWAYS | FA_WRITE);

  if (fres != FR_OK)
  {
    snprintf(uart_msg , sizeof(uart_msg) , "File open ERROR %s: %d\r\n" , filename , fres);
    UART3_Print(uart_msg);
    f_mount(NULL , "" , 1);
    return;
  } // end if fres not ok

  f_lseek(&file , f_size(&file));

  if (need_header)
  {
    f_write(&file , header , strlen(header) , &bw);
  } // end if need header

  f_write(&file , line , strlen(line) , &bw);
  f_sync(&file);
  f_close(&file);
  f_mount(NULL , "" , 1);
} // end function SD_AppendLine_WithHeader

void SD_WriteRaw(SensorData_t *d , DS3231_Time_t *t)
{
  raw_index++;

  snprintf(raw_line , sizeof(raw_line) , "20%02d-%02d-%02d %02d:%02d:%02d,%lu,%.3f,%.3f,%.3f,%.3f,%.3f,%.3f,%.2f,%.4f,%.4f\r\n",
          t->year,
          t->month,
          t->day,
          t->hour,
          t->min,
          t->sec,
          raw_index,
          d->ax,
          d->ay,
          d->az,
          d->gx,
          d->gy,
          d->gz,
          d->temp_bmp,
          d->temp_sbe,
          d->pressure_sbe);

  SD_AppendLine_WithHeader("raw_log.csv" , "rtc_time,index,ax,ay,az,gx,gy,gz,temp_bmp,temp_sbe,pressure_sbe\r\n" , raw_line);
} // end function SD_WriteRaw

void SD_WriteAvg_And_SendUART(DS3231_Time_t *t)
{
  if (avg_buf.count == 0)
  {
    return;
  } // end if avg count is 0

  float ax_avg = avg_buf.ax_sum / avg_buf.count;
  float ay_avg = avg_buf.ay_sum / avg_buf.count;
  float az_avg = avg_buf.az_sum / avg_buf.count;

  float gx_avg = avg_buf.gx_sum / avg_buf.count;
  float gy_avg = avg_buf.gy_sum / avg_buf.count;
  float gz_avg = avg_buf.gz_sum / avg_buf.count;

  float temp_bmp_avg = avg_buf.temp_bmp_sum / avg_buf.count;
  float temp_sbe_avg = avg_buf.temp_sbe_sum / avg_buf.count;
  float pressure_sbe_avg = avg_buf.pressure_sbe_sum / avg_buf.count;

  avg_index++;

  snprintf(avg_line , sizeof(avg_line) , "20%02d-%02d-%02d %02d:%02d:%02d,%lu,%lu,%.3f,%.3f,%.3f,%.3f,%.3f,%.3f,%.2f,%.4f,%.4f\r\n",
          t->year,
          t->month,
          t->day,
          t->hour,
          t->min,
          t->sec,
          avg_index,
          avg_buf.count,
          ax_avg,
          ay_avg,
          az_avg,
          gx_avg,
          gy_avg,
          gz_avg,
          temp_bmp_avg,
          temp_sbe_avg,
          pressure_sbe_avg);

  SD_AppendLine_WithHeader("avg_log.csv" , "rtc_time,avg_index,count,ax_avg,ay_avg,az_avg,gx_avg,gy_avg,gz_avg,temp_bmp_avg,temp_sbe_avg,pressure_sbe_avg\r\n",
    avg_line);

  snprintf(uart_msg , sizeof(uart_msg) , "AVG,%s", avg_line);
  HAL_UART_Transmit(&huart3 , (uint8_t *)uart_msg , strlen(uart_msg) , 100);
} // end function SD_WriteAvg_And_SendUART
/* USER CODE END 4 */

 /* MPU Configuration */

void MPU_Config(void)
{
  MPU_Region_InitTypeDef MPU_InitStruct = {0};

  /* Disables the MPU */
  HAL_MPU_Disable();

  /** Initializes and configures the Region and the memory to be protected
  */
  MPU_InitStruct.Enable = MPU_REGION_ENABLE;
  MPU_InitStruct.Number = MPU_REGION_NUMBER0;
  MPU_InitStruct.BaseAddress = 0x0;
  MPU_InitStruct.Size = MPU_REGION_SIZE_4GB;
  MPU_InitStruct.SubRegionDisable = 0x87;
  MPU_InitStruct.TypeExtField = MPU_TEX_LEVEL0;
  MPU_InitStruct.AccessPermission = MPU_REGION_NO_ACCESS;
  MPU_InitStruct.DisableExec = MPU_INSTRUCTION_ACCESS_DISABLE;
  MPU_InitStruct.IsShareable = MPU_ACCESS_SHAREABLE;
  MPU_InitStruct.IsCacheable = MPU_ACCESS_NOT_CACHEABLE;
  MPU_InitStruct.IsBufferable = MPU_ACCESS_NOT_BUFFERABLE;

  HAL_MPU_ConfigRegion(&MPU_InitStruct);
  /* Enables the MPU */
  HAL_MPU_Enable(MPU_PRIVILEGED_DEFAULT);

}

void Error_Handler(void)
{
  __disable_irq();
  while (1)
  {
  }
}
